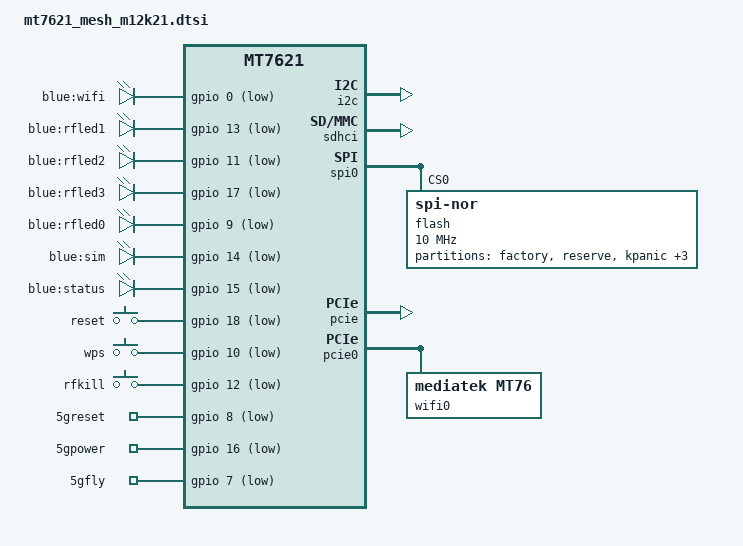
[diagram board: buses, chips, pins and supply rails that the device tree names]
// SPDX-License-Identifier: BSD-3-Clause
/*
 *  Copyright(c) 2017 Kristian Evensen <kristian.evensen@gmail.com>.
 *  Copyright(c) 2017 Piotr Dymacz <pepe2k@gmail.com>.
 *  All rights reserved.
 */

#include "mt7621.dtsi"

#include <dt-bindings/gpio/gpio.h>
#include <dt-bindings/input/input.h>

/ {
	compatible = "mesh,m12k21", "mediatek,mt7621-soc";

	aliases {
		led-boot = &led_status;
		led-failsafe = &led_status;
		led-running = &led_status;
		led-upgrade = &led_status;
	};

	chosen {
		bootargs = "console=ttyS0,115200";
	};

	leds {
		compatible = "gpio-leds";

		wifi {
			linux,default-trigger = "none";
			label = "blue:wifi";
			default-state = "off";
			gpios = <&gpio 0 GPIO_ACTIVE_LOW>;
		};

		rfled1 {
			linux,default-trigger = "none";
			gpios = <&gpio 13 GPIO_ACTIVE_LOW>;
			label = "blue:rfled1";
			default-state = "off";
		};

		rfled2 {
			linux,default-trigger = "none";
			gpios = <&gpio 11 GPIO_ACTIVE_LOW>;
			label = "blue:rfled2";
			default-state = "off";
		};

		rfled3 {
			linux,default-trigger = "none";
			gpios = <&gpio 17 GPIO_ACTIVE_LOW>;
			label = "blue:rfled3";
			default-state = "off";
		};

		rfled0 {
			linux,default-trigger = "none";
			gpios = <&gpio 9 GPIO_ACTIVE_LOW>;
			label = "blue:rfled0";
			default-state = "off";
		};

		sim {
			linux,default-trigger = "none";
			gpios = <&gpio 14 GPIO_ACTIVE_LOW>;
			label = "blue:sim";
			default-state = "off";
		};
		
		led_status: status {
			label = "blue:status";
			gpios = <&gpio 15 GPIO_ACTIVE_LOW>;
		};
	};

	keys {
		compatible = "gpio-keys";

		reset {
			label = "reset";
			gpios = <&gpio 18 GPIO_ACTIVE_LOW>;
			linux,code = <KEY_RESTART>;
		};

		wps {
			label = "wps";
			gpios = <&gpio 10 GPIO_ACTIVE_LOW>;
			linux,code = <BTN_1>;
		};

		rfkill {
			label = "rfkill";
			gpios = <&gpio 12 GPIO_ACTIVE_LOW>;
			linux,code = <BTN_0>;
		};
	};

	gpio-export {
		compatible = "gpio-export";
		
		5greset {
			gpio-export,name = "5greset";
			gpio-export,output = <0x00>;
			gpios = <&gpio 8 GPIO_ACTIVE_LOW>;
		};

		5gpower {
			gpio-export,name = "5gpower";
			gpio-export,output = <0x00>;
			gpios = <&gpio 16 GPIO_ACTIVE_LOW>;
		};

		5gfly {
			gpio-export,name = "5gfly";
			gpio-export,output = <0x00>;
			gpios = <&gpio 7 GPIO_ACTIVE_LOW>;
		};
	};

};

&i2c {
	status = "okay";
};

&sdhci {
	status = "okay";
};

&spi0 {
	status = "okay";

	flash@0 {
		compatible = "jedec,spi-nor";
		reg = <0>;
		spi-max-frequency = <10000000>;

		partitions {
			compatible = "fixed-partitions";
			#address-cells = <1>;
			#size-cells = <1>;
			
			factory: partition@40000 {
				label = "factory";
				reg = <0x40000 0x10000>;
			};
			
			partition@ff0000 {
				label = "reserve";
				reg = <0xff0000 0x10000>;
				read-only;
			};
			
			partition@30000 {
				label = "kpanic";
				reg = <0x30000 0x10000>;
			};
			
			firmware: partition@50000 {
				compatible = "denx,uimage";
				label = "firmware";
			};
			
			partition@fe0000 {
				label = "ledeinfo";
				reg = <0xfe0000 0x10000>;
				read-only;
			};
				
			partition@0 {
				label = "u-boot";
				reg = <0x0 0x30000>;
				read-only;
			};
		};
	};
};

&pcie {
	status = "okay";
};

&pcie0 {
	wifi0: wifi@0,0 {
		compatible = "mediatek,mt76";
		mtd-mac-address = <&factory 0x0a00>;
	};
};

&gmac0 {
	mtd-mac-address = <&factory 0x0a00>;
};

&switch0 {
	ports {
		port@0 {
			status = "okay";
			label = "lan1";
		};
	};
};

&state_default {
	gpio {
		groups = "wdt", "jtag", "uart3", "uart1", "uart2";
		function = "gpio";
	};
};
